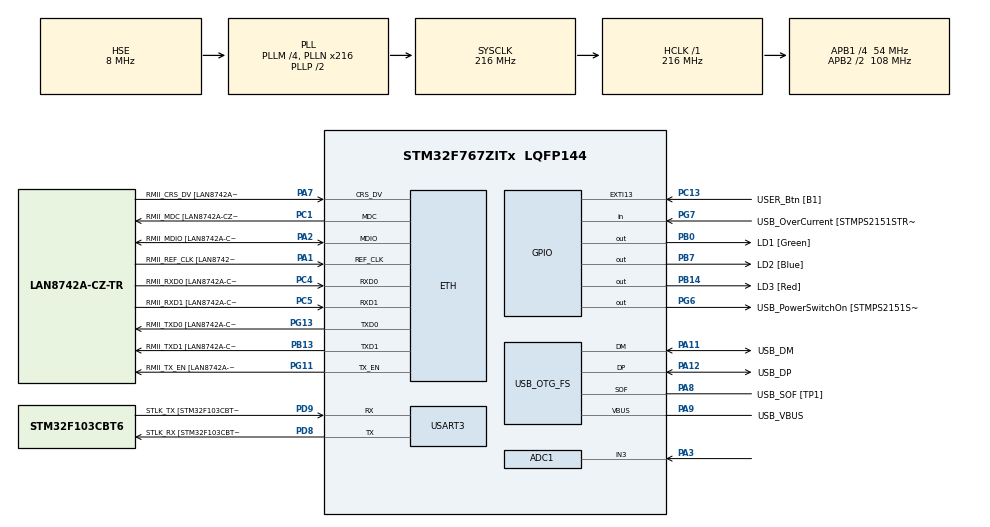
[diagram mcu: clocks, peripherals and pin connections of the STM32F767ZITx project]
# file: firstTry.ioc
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ADC1.Channel-0\#ChannelRegularConversion=ADC_CHANNEL_3
ADC1.NbrOfConversion=1
ADC1.NbrOfConversionFlag=1
ADC1.Rank-0\#ChannelRegularConversion=1
ADC1.SamplingTime-0\#ChannelRegularConversion=ADC_SAMPLETIME_3CYCLES
ADC1.master=1
ETH.MediaInterface=HAL_ETH_RMII_MODE
ETH.PHY_Name=LAN8742A_PHY_ADDRESS
ETH.PHY_Value=0
ETH.PhyAddress=0
Mcu.Family=STM32F7
Mcu.Name=STM32F767ZITx
Mcu.Package=LQFP144
NVIC.PriorityGroup=NVIC_PRIORITYGROUP_4
PA1.GPIO_Label=RMII_REF_CLK [LAN8742A-CZ-TR_REFCLK0]
PA1.Mode=RMII
PA1.Signal=ETH_REF_CLK
PA10.GPIO_Label=USB_ID
PA10.Signal=USB_OTG_FS_ID
PA11.GPIO_Label=USB_DM
PA11.Mode=Device_Only
PA11.Signal=USB_OTG_FS_DM
PA12.GPIO_Label=USB_DP
PA12.Mode=Device_Only
PA12.Signal=USB_OTG_FS_DP
PA13.GPIO_Label=TMS
PA13.Mode=Serial_Wire
PA13.Signal=SYS_JTMS-SWDIO
PA14.GPIO_Label=TCK
PA14.Mode=Serial_Wire
PA14.Signal=SYS_JTCK-SWCLK
PA2.GPIO_Label=RMII_MDIO [LAN8742A-CZ-TR_MDIO]
PA2.Mode=RMII
PA2.Signal=ETH_MDIO
PA3.Signal=ADCx_IN3
PA7.GPIO_Label=RMII_CRS_DV [LAN8742A-CZ-TR_CRS_DV]
PA7.Mode=RMII
PA7.Signal=ETH_CRS_DV
PA8.GPIO_Label=USB_SOF [TP1]
PA8.Mode=Activate_SOF_FS
PA8.Signal=USB_OTG_FS_SOF
PA9.GPIO_Label=USB_VBUS
PA9.Mode=Activate_VBUS
PA9.Signal=USB_OTG_FS_VBUS
PB0.GPIO_Label=LD1 [Green]
PB0.Signal=GPIO_Output
PB13.GPIO_Label=RMII_TXD1 [LAN8742A-CZ-TR_TXD1]
PB13.Mode=RMII
PB13.Signal=ETH_TXD1
PB14.GPIO_Label=LD3 [Red]
PB14.Signal=GPIO_Output
PB3.GPIO_Label=SWO
PB3.Signal=SYS_JTDO-SWO
PB7.GPIO_Label=LD2 [Blue]
PB7.Signal=GPIO_Output
PC1.GPIO_Label=RMII_MDC [LAN8742A-CZ-TR_MDC]
PC1.Mode=RMII
PC1.Signal=ETH_MDC
PC13.GPIO_Label=USER_Btn [B1]
PC13.Signal=GPXTI13
PC14/OSC32_IN.Mode=LSE-External-Oscillator
PC14/OSC32_IN.Signal=RCC_OSC32_IN
PC15/OSC32_OUT.Mode=LSE-External-Oscillator
PC15/OSC32_OUT.Signal=RCC_OSC32_OUT
PC4.GPIO_Label=RMII_RXD0 [LAN8742A-CZ-TR_RXD0]
PC4.Mode=RMII
PC4.Signal=ETH_RXD0
PC5.GPIO_Label=RMII_RXD1 [LAN8742A-CZ-TR_RXD1]
PC5.Mode=RMII
PC5.Signal=ETH_RXD1
PD8.GPIO_Label=STLK_RX [STM32F103CBT6_PA3]
PD8.Mode=Asynchronous
PD8.Signal=USART3_TX
PD9.GPIO_Label=STLK_TX [STM32F103CBT6_PA2]
PD9.Mode=Asynchronous
PD9.Signal=USART3_RX
PG11.GPIO_Label=RMII_TX_EN [LAN8742A-CZ-TR_TXEN]
PG11.Mode=RMII
PG11.Signal=ETH_TX_EN
PG13.GPIO_Label=RMII_TXD0 [LAN8742A-CZ-TR_TXD0]
PG13.Mode=RMII
PG13.Signal=ETH_TXD0
PG6.GPIO_Label=USB_PowerSwitchOn [STMPS2151STR_EN]
PG6.Signal=GPIO_Output
PG7.GPIO_Label=USB_OverCurrent [STMPS2151STR_FAULT]
PG7.Signal=GPIO_Input
PH0/OSC_IN.GPIO_Label=MCO [STM32F103CBT6_PA8]
PH0/OSC_IN.Mode=HSE-External-Clock-Source
PH0/OSC_IN.Signal=RCC_OSC_IN
PH1/OSC_OUT.Mode=HSE-External-Clock-Source
PH1/OSC_OUT.Signal=RCC_OSC_OUT
ProjectManager.HeapSize=0x200
ProjectManager.StackSize=0x400
ProjectManager.TargetToolchain=STM32CubeIDE
RCC.48MHZClocksFreq_Value=24000000
RCC.AHBFreq_Value=216000000
RCC.APB1CLKDivider=RCC_HCLK_DIV4
RCC.APB1Freq_Value=54000000
RCC.APB1TimFreq_Value=108000000
RCC.APB2CLKDivider=RCC_HCLK_DIV2
RCC.APB2Freq_Value=108000000
RCC.APB2TimFreq_Value=216000000
RCC.CortexFreq_Value=216000000
RCC.HCLKFreq_Value=216000000
RCC.HSE_VALUE=8000000
RCC.HSI_VALUE=16000000
RCC.PLLM=4
RCC.PLLMUL=RCC_PLL_MUL9
RCC.PLLN=216
RCC.PLLQ=9
RCC.PRESCALERUSB=RCC_USBCLKSOURCE_PLL_DIV1_5
RCC.SYSCLKFreq_VALUE=216000000
RCC.SYSCLKSource=RCC_SYSCLKSOURCE_PLLCLK
RCC.SYSCLKSourceVirtual=RCC_SYSCLKSOURCE_PLLCLK
RCC.USBFreq_Value=48000000
RCC.VCOOutputFreq_Value=432000000
SH.ADCx_IN3.0=ADC1_IN3,IN3
USART3.VirtualMode-Asynchronous=VM_ASYNC
USB_OTG_FS.VirtualMode=Device_Only
board=NUCLEO-F767ZI

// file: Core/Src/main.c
/* USER CODE BEGIN Header */
/**
  ******************************************************************************
  * @file           : main.c
  * @brief          : Main program body
  ******************************************************************************
  * @attention
  *
  * Copyright (c) 2023 STMicroelectronics.
  * All rights reserved.
  *
  * This software is licensed under terms that can be found in the LICENSE file
  * in the root directory of this software component.
  * If no LICENSE file comes with this software, it is provided AS-IS.
  *
  ******************************************************************************
  */
/* USER CODE END Header */
#include "main.h"
#include "adc.h"
#include "usart.h"
#include "gpio.h"

/* USER CODE BEGIN Includes */
#include <string.h>
/* USER CODE END Includes */

void SystemClock_Config(void);

int main(void)
{
  /* USER CODE BEGIN 1 */
	char str[6];
	uint32_t value;
	uint32_t array_to_average[10];
	uint32_t sum_all_element;
	uint32_t max_element;
	uint32_t min_element;
	uint32_t result;
  /* USER CODE END 1 */

  /* MCU Configuration--------------------------------------------------------*/

  /* Reset of all peripherals, Initializes the Flash interface and the Systick. */
  HAL_Init();

  /* Configure the system clock */
  SystemClock_Config();

  /* Initialize all configured peripherals */
  MX_GPIO_Init();
  MX_USART3_UART_Init();
  MX_ADC1_Init();

  /* Infinite loop */
  /* USER CODE BEGIN WHILE */
  while (1)
  {
	  sum_all_element=0;
	  for(int i=0; i<10; i++)
	  {
		  HAL_ADC_Start (&hadc1);
		  HAL_ADC_PollForConversion(&hadc1, HAL_MAX_DELAY);
		  array_to_average[i] = HAL_ADC_GetValue(&hadc1);
		  sum_all_element += array_to_average[i];
	  }
	  max_element = array_to_average[0];
	  min_element = array_to_average[0];
	  for(int i=1; i<10; i++)
	  {
		  if(max_element<=array_to_average[i])
		  {
			  max_element = array_to_average[i];
		  }
		  if(min_element>=array_to_average[i])
		  {
			  min_element = array_to_average[i];
		  }
	  }
	  result = (sum_all_element - (min_element + max_element)) >> 3;
	  itoa(result, str, 10);
	  HAL_UART_Transmit(&huart3, str, strlen(str), HAL_MAX_DELAY);
	  HAL_UART_Transmit(&huart3, "\n\r", 2, HAL_MAX_DELAY);
	  HAL_Delay(1000);
    /* USER CODE END WHILE */

  }
}

void SystemClock_Config(void)
{
  RCC_OscInitTypeDef RCC_OscInitStruct = {0};
  RCC_ClkInitTypeDef RCC_ClkInitStruct = {0};

  /** Configure LSE Drive Capability
  */
  HAL_PWR_EnableBkUpAccess();

  /** Configure the main internal regulator output voltage
  */
  __HAL_RCC_PWR_CLK_ENABLE();
  __HAL_PWR_VOLTAGESCALING_CONFIG(PWR_REGULATOR_VOLTAGE_SCALE1);

  /** Initializes the RCC Oscillators according to the specified parameters
  * in the RCC_OscInitTypeDef structure.
  */
  RCC_OscInitStruct.OscillatorType = RCC_OSCILLATORTYPE_HSE;
  RCC_OscInitStruct.HSEState = RCC_HSE_BYPASS;
  RCC_OscInitStruct.PLL.PLLState = RCC_PLL_ON;
  RCC_OscInitStruct.PLL.PLLSource = RCC_PLLSOURCE_HSE;
  RCC_OscInitStruct.PLL.PLLM = 4;
  RCC_OscInitStruct.PLL.PLLN = 216;
  RCC_OscInitStruct.PLL.PLLP = RCC_PLLP_DIV2;
  RCC_OscInitStruct.PLL.PLLQ = 9;
  RCC_OscInitStruct.PLL.PLLR = 2;
  if (HAL_RCC_OscConfig(&RCC_OscInitStruct) != HAL_OK)
  {
    Error_Handler();
  }

  /** Activate the Over-Drive mode
  */
  if (HAL_PWREx_EnableOverDrive() != HAL_OK)
  {
    Error_Handler();
  }

  /** Initializes the CPU, AHB and APB buses clocks
  */
  RCC_ClkInitStruct.ClockType = RCC_CLOCKTYPE_HCLK|RCC_CLOCKTYPE_SYSCLK
                              |RCC_CLOCKTYPE_PCLK1|RCC_CLOCKTYPE_PCLK2;
  RCC_ClkInitStruct.SYSCLKSource = RCC_SYSCLKSOURCE_PLLCLK;
  RCC_ClkInitStruct.AHBCLKDivider = RCC_SYSCLK_DIV1;
  RCC_ClkInitStruct.APB1CLKDivider = RCC_HCLK_DIV4;
  RCC_ClkInitStruct.APB2CLKDivider = RCC_HCLK_DIV2;

  if (HAL_RCC_ClockConfig(&RCC_ClkInitStruct, FLASH_LATENCY_7) != HAL_OK)
  {
    Error_Handler();
  }
}

void Error_Handler(void)
{
  __disable_irq();
  while (1)
  {
  }
}
